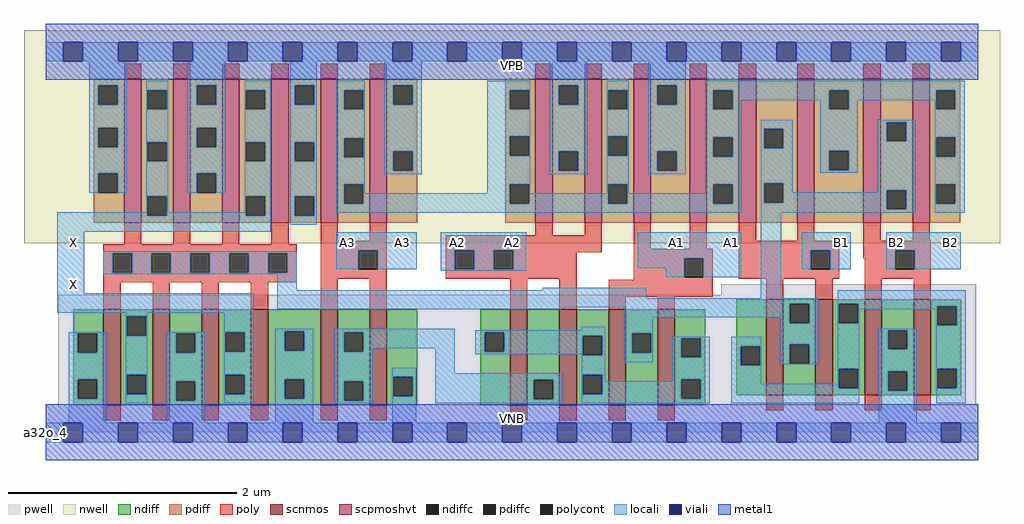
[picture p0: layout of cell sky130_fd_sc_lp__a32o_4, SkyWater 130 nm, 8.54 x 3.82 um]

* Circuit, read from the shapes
.subckt sky130_fd_sc_lp__a32o_4 A1 A2 A3 B1 B2 VGND VNB VPB VPWR X
XM1 X n1 VGND VNB sky130_fd_pr__nfet_01v8 w=0.84 l=0.15 m=4
XM2 n2 A3 VGND VNB sky130_fd_pr__nfet_01v8 w=0.84 l=0.15 m=2
XM3 n2 A2 n3 VNB sky130_fd_pr__nfet_01v8 w=0.84 l=0.15 m=2
XM4 n1 A1 n3 VNB sky130_fd_pr__nfet_01v8 w=0.84 l=0.15 m=2
XM5 n1 B1 n4 VNB sky130_fd_pr__nfet_01v8 w=0.84 l=0.15 m=2
XM6 VGND B2 n4 VNB sky130_fd_pr__nfet_01v8 w=0.84 l=0.15 m=2
XM7 X n1 VPWR VPB sky130_fd_pr__pfet_01v8_hvt w=1.26 l=0.15 m=4
XM8 n5 A3 VPWR VPB sky130_fd_pr__pfet_01v8_hvt w=1.26 l=0.15 m=2
XM9 VPWR A2 n5 VPB sky130_fd_pr__pfet_01v8_hvt w=1.26 l=0.15 m=2
XM10 VPWR A1 n5 VPB sky130_fd_pr__pfet_01v8_hvt w=1.26 l=0.15 m=2
XM11 n1 B1 n5 VPB sky130_fd_pr__pfet_01v8_hvt w=1.26 l=0.15 m=2
XM12 n1 B2 n5 VPB sky130_fd_pr__pfet_01v8_hvt w=1.26 l=0.15 m=2
.ends

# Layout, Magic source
magic
tech sky130A
magscale 1 2
<< nwell >>
rect -38 331 1670 704
<< pwell >>
rect 1182 241 1628 259
rect 22 49 1628 241
rect 0 0 1632 49
<< scnmos >>
rect 101 47 131 215
rect 187 47 217 215
rect 273 47 303 215
rect 359 47 389 215
rect 481 47 511 215
rect 567 47 597 215
rect 813 47 843 215
rect 899 47 929 215
rect 985 47 1015 215
rect 1071 47 1101 215
rect 1261 65 1291 233
rect 1347 65 1377 233
rect 1433 65 1463 233
rect 1519 65 1549 233
<< scpmoshvt >>
rect 137 367 167 619
rect 223 367 253 619
rect 309 367 339 619
rect 395 367 425 619
rect 481 367 511 619
rect 567 367 597 619
rect 857 367 887 619
rect 943 367 973 619
rect 1029 367 1059 619
rect 1127 367 1157 619
rect 1213 367 1243 619
rect 1315 367 1345 619
rect 1431 367 1461 619
rect 1517 367 1547 619
<< ndiff >>
rect 48 173 101 215
rect 48 139 56 173
rect 90 139 101 173
rect 48 93 101 139
rect 48 59 56 93
rect 90 59 101 93
rect 48 47 101 59
rect 131 203 187 215
rect 131 169 142 203
rect 176 169 187 203
rect 131 101 187 169
rect 131 67 142 101
rect 176 67 187 101
rect 131 47 187 67
rect 217 173 273 215
rect 217 139 228 173
rect 262 139 273 173
rect 217 89 273 139
rect 217 55 228 89
rect 262 55 273 89
rect 217 47 273 55
rect 303 175 359 215
rect 303 141 314 175
rect 348 141 359 175
rect 303 101 359 141
rect 303 67 314 101
rect 348 67 359 101
rect 303 47 359 67
rect 389 177 481 215
rect 389 143 418 177
rect 452 143 481 177
rect 389 93 481 143
rect 389 59 418 93
rect 452 59 481 93
rect 389 47 481 59
rect 511 175 567 215
rect 511 141 522 175
rect 556 141 567 175
rect 511 89 567 141
rect 511 55 522 89
rect 556 55 567 89
rect 511 47 567 55
rect 597 97 650 215
rect 597 63 608 97
rect 642 63 650 97
rect 597 47 650 63
rect 760 175 813 215
rect 760 141 768 175
rect 802 141 813 175
rect 760 47 813 141
rect 843 92 899 215
rect 843 58 854 92
rect 888 58 899 92
rect 843 47 899 58
rect 929 169 985 215
rect 929 135 940 169
rect 974 135 985 169
rect 929 101 985 135
rect 929 67 940 101
rect 974 67 985 101
rect 929 47 985 67
rect 1015 173 1071 215
rect 1015 139 1026 173
rect 1060 139 1071 173
rect 1015 47 1071 139
rect 1101 165 1154 215
rect 1101 131 1112 165
rect 1146 131 1154 165
rect 1101 93 1154 131
rect 1101 59 1112 93
rect 1146 59 1154 93
rect 1208 151 1261 233
rect 1208 117 1216 151
rect 1250 117 1261 151
rect 1208 65 1261 117
rect 1291 225 1347 233
rect 1291 191 1302 225
rect 1336 191 1347 225
rect 1291 154 1347 191
rect 1291 120 1302 154
rect 1336 120 1347 154
rect 1291 65 1347 120
rect 1377 225 1433 233
rect 1377 191 1388 225
rect 1422 191 1433 225
rect 1377 111 1433 191
rect 1377 77 1388 111
rect 1422 77 1433 111
rect 1377 65 1433 77
rect 1463 179 1519 233
rect 1463 145 1474 179
rect 1508 145 1519 179
rect 1463 107 1519 145
rect 1463 73 1474 107
rect 1508 73 1519 107
rect 1463 65 1519 73
rect 1549 221 1602 233
rect 1549 187 1560 221
rect 1594 187 1602 221
rect 1549 111 1602 187
rect 1549 77 1560 111
rect 1594 77 1602 111
rect 1549 65 1602 77
rect 1101 47 1154 59
<< pdiff >>
rect 84 607 137 619
rect 84 573 92 607
rect 126 573 137 607
rect 84 533 137 573
rect 84 499 92 533
rect 126 499 137 533
rect 84 453 137 499
rect 84 419 92 453
rect 126 419 137 453
rect 84 367 137 419
rect 167 599 223 619
rect 167 565 178 599
rect 212 565 223 599
rect 167 508 223 565
rect 167 474 178 508
rect 212 474 223 508
rect 167 413 223 474
rect 167 379 178 413
rect 212 379 223 413
rect 167 367 223 379
rect 253 607 309 619
rect 253 573 264 607
rect 298 573 309 607
rect 253 533 309 573
rect 253 499 264 533
rect 298 499 309 533
rect 253 453 309 499
rect 253 419 264 453
rect 298 419 309 453
rect 253 367 309 419
rect 339 599 395 619
rect 339 565 350 599
rect 384 565 395 599
rect 339 508 395 565
rect 339 474 350 508
rect 384 474 395 508
rect 339 413 395 474
rect 339 379 350 413
rect 384 379 395 413
rect 339 367 395 379
rect 425 607 481 619
rect 425 573 436 607
rect 470 573 481 607
rect 425 508 481 573
rect 425 474 436 508
rect 470 474 481 508
rect 425 413 481 474
rect 425 379 436 413
rect 470 379 481 413
rect 425 367 481 379
rect 511 599 567 619
rect 511 565 522 599
rect 556 565 567 599
rect 511 515 567 565
rect 511 481 522 515
rect 556 481 567 515
rect 511 434 567 481
rect 511 400 522 434
rect 556 400 567 434
rect 511 367 567 400
rect 597 607 650 619
rect 597 573 608 607
rect 642 573 650 607
rect 597 492 650 573
rect 597 458 608 492
rect 642 458 650 492
rect 597 367 650 458
rect 804 599 857 619
rect 804 565 812 599
rect 846 565 857 599
rect 804 518 857 565
rect 804 484 812 518
rect 846 484 857 518
rect 804 434 857 484
rect 804 400 812 434
rect 846 400 857 434
rect 804 367 857 400
rect 887 607 943 619
rect 887 573 898 607
rect 932 573 943 607
rect 887 492 943 573
rect 887 458 898 492
rect 932 458 943 492
rect 887 367 943 458
rect 973 599 1029 619
rect 973 565 984 599
rect 1018 565 1029 599
rect 973 518 1029 565
rect 973 484 984 518
rect 1018 484 1029 518
rect 973 434 1029 484
rect 973 400 984 434
rect 1018 400 1029 434
rect 973 367 1029 400
rect 1059 607 1127 619
rect 1059 573 1070 607
rect 1104 573 1127 607
rect 1059 492 1127 573
rect 1059 458 1070 492
rect 1104 458 1127 492
rect 1059 367 1127 458
rect 1157 599 1213 619
rect 1157 565 1168 599
rect 1202 565 1213 599
rect 1157 516 1213 565
rect 1157 482 1168 516
rect 1202 482 1213 516
rect 1157 434 1213 482
rect 1157 400 1168 434
rect 1202 400 1213 434
rect 1157 367 1213 400
rect 1243 531 1315 619
rect 1243 497 1257 531
rect 1291 497 1315 531
rect 1243 436 1315 497
rect 1243 402 1257 436
rect 1291 402 1315 436
rect 1243 367 1315 402
rect 1345 599 1431 619
rect 1345 565 1371 599
rect 1405 565 1431 599
rect 1345 493 1431 565
rect 1345 459 1371 493
rect 1405 459 1431 493
rect 1345 367 1431 459
rect 1461 543 1517 619
rect 1461 509 1472 543
rect 1506 509 1517 543
rect 1461 424 1517 509
rect 1461 390 1472 424
rect 1506 390 1517 424
rect 1461 367 1517 390
rect 1547 599 1600 619
rect 1547 565 1558 599
rect 1592 565 1600 599
rect 1547 516 1600 565
rect 1547 482 1558 516
rect 1592 482 1600 516
rect 1547 434 1600 482
rect 1547 400 1558 434
rect 1592 400 1600 434
rect 1547 367 1600 400
<< ndiffc >>
rect 56 139 90 173
rect 56 59 90 93
rect 142 169 176 203
rect 142 67 176 101
rect 228 139 262 173
rect 228 55 262 89
rect 314 141 348 175
rect 314 67 348 101
rect 418 143 452 177
rect 418 59 452 93
rect 522 141 556 175
rect 522 55 556 89
rect 608 63 642 97
rect 768 141 802 175
rect 854 58 888 92
rect 940 135 974 169
rect 940 67 974 101
rect 1026 139 1060 173
rect 1112 131 1146 165
rect 1112 59 1146 93
rect 1216 117 1250 151
rect 1302 191 1336 225
rect 1302 120 1336 154
rect 1388 191 1422 225
rect 1388 77 1422 111
rect 1474 145 1508 179
rect 1474 73 1508 107
rect 1560 187 1594 221
rect 1560 77 1594 111
<< pdiffc >>
rect 92 573 126 607
rect 92 499 126 533
rect 92 419 126 453
rect 178 565 212 599
rect 178 474 212 508
rect 178 379 212 413
rect 264 573 298 607
rect 264 499 298 533
rect 264 419 298 453
rect 350 565 384 599
rect 350 474 384 508
rect 350 379 384 413
rect 436 573 470 607
rect 436 474 470 508
rect 436 379 470 413
rect 522 565 556 599
rect 522 481 556 515
rect 522 400 556 434
rect 608 573 642 607
rect 608 458 642 492
rect 812 565 846 599
rect 812 484 846 518
rect 812 400 846 434
rect 898 573 932 607
rect 898 458 932 492
rect 984 565 1018 599
rect 984 484 1018 518
rect 984 400 1018 434
rect 1070 573 1104 607
rect 1070 458 1104 492
rect 1168 565 1202 599
rect 1168 482 1202 516
rect 1168 400 1202 434
rect 1257 497 1291 531
rect 1257 402 1291 436
rect 1371 565 1405 599
rect 1371 459 1405 493
rect 1472 509 1506 543
rect 1472 390 1506 424
rect 1558 565 1592 599
rect 1558 482 1592 516
rect 1558 400 1592 434
<< poly >>
rect 137 619 167 645
rect 223 619 253 645
rect 309 619 339 645
rect 395 619 425 645
rect 481 619 511 645
rect 567 619 597 645
rect 857 619 887 645
rect 943 619 973 645
rect 1029 619 1059 645
rect 1127 619 1157 645
rect 1213 619 1243 645
rect 1315 619 1345 645
rect 1431 619 1461 645
rect 1517 619 1547 645
rect 137 329 167 367
rect 223 329 253 367
rect 309 329 339 367
rect 395 329 425 367
rect 481 335 511 367
rect 567 335 597 367
rect 857 345 887 367
rect 943 345 973 367
rect 101 313 439 329
rect 101 279 117 313
rect 151 279 185 313
rect 219 279 253 313
rect 287 279 321 313
rect 355 279 389 313
rect 423 279 439 313
rect 101 263 439 279
rect 481 319 597 335
rect 481 285 547 319
rect 581 285 597 319
rect 481 269 597 285
rect 700 319 973 345
rect 700 285 716 319
rect 750 285 784 319
rect 818 315 973 319
rect 1029 321 1059 367
rect 1127 321 1157 367
rect 1213 335 1243 367
rect 1315 335 1345 367
rect 1431 335 1461 367
rect 1517 335 1547 367
rect 818 285 929 315
rect 700 269 929 285
rect 101 215 131 263
rect 187 215 217 263
rect 273 215 303 263
rect 359 215 389 263
rect 481 215 511 269
rect 567 215 597 269
rect 813 215 843 269
rect 899 215 929 269
rect 1029 305 1167 321
rect 1029 271 1117 305
rect 1151 271 1167 305
rect 1029 267 1167 271
rect 1213 319 1389 335
rect 1213 285 1339 319
rect 1373 285 1389 319
rect 1431 319 1549 335
rect 1431 305 1487 319
rect 1213 269 1389 285
rect 1433 285 1487 305
rect 1521 285 1549 319
rect 1433 269 1549 285
rect 985 237 1167 267
rect 985 215 1015 237
rect 1071 215 1101 237
rect 1261 233 1291 269
rect 1347 233 1377 269
rect 1433 233 1463 269
rect 1519 233 1549 269
rect 101 21 131 47
rect 187 21 217 47
rect 273 21 303 47
rect 359 21 389 47
rect 481 21 511 47
rect 567 21 597 47
rect 813 21 843 47
rect 899 21 929 47
rect 985 21 1015 47
rect 1071 21 1101 47
rect 1261 39 1291 65
rect 1347 39 1377 65
rect 1433 39 1463 65
rect 1519 39 1549 65
<< polycont >>
rect 117 279 151 313
rect 185 279 219 313
rect 253 279 287 313
rect 321 279 355 313
rect 389 279 423 313
rect 547 285 581 319
rect 716 285 750 319
rect 784 285 818 319
rect 1117 271 1151 305
rect 1339 285 1373 319
rect 1487 285 1521 319
<< locali >>
rect 0 649 31 683
rect 65 649 127 683
rect 161 649 223 683
rect 257 649 319 683
rect 353 649 415 683
rect 449 649 511 683
rect 545 649 607 683
rect 641 649 703 683
rect 737 649 799 683
rect 833 649 895 683
rect 929 649 991 683
rect 1025 649 1087 683
rect 1121 649 1183 683
rect 1217 649 1279 683
rect 1313 649 1375 683
rect 1409 649 1471 683
rect 1505 649 1567 683
rect 1601 649 1632 683
rect 76 607 142 649
rect 76 573 92 607
rect 126 573 142 607
rect 76 533 142 573
rect 76 499 92 533
rect 126 499 142 533
rect 76 453 142 499
rect 76 419 92 453
rect 126 419 142 453
rect 176 599 214 615
rect 176 565 178 599
rect 212 565 214 599
rect 176 508 214 565
rect 176 474 178 508
rect 212 474 214 508
rect 176 413 214 474
rect 248 607 314 649
rect 248 573 264 607
rect 298 573 314 607
rect 248 533 314 573
rect 248 499 264 533
rect 298 499 314 533
rect 248 453 314 499
rect 248 419 264 453
rect 298 419 314 453
rect 348 599 394 615
rect 348 565 350 599
rect 384 565 394 599
rect 348 508 394 565
rect 348 474 350 508
rect 384 474 394 508
rect 176 385 178 413
rect 20 379 178 385
rect 212 385 214 413
rect 348 413 394 474
rect 348 385 350 413
rect 212 379 350 385
rect 384 379 394 413
rect 20 351 394 379
rect 428 607 474 649
rect 428 573 436 607
rect 470 573 474 607
rect 428 508 474 573
rect 428 474 436 508
rect 470 474 474 508
rect 428 413 474 474
rect 428 379 436 413
rect 470 379 474 413
rect 508 599 558 615
rect 508 565 522 599
rect 556 565 558 599
rect 508 515 558 565
rect 508 481 522 515
rect 556 481 558 515
rect 508 434 558 481
rect 592 607 658 649
rect 592 573 608 607
rect 642 573 658 607
rect 592 492 658 573
rect 592 458 608 492
rect 642 458 658 492
rect 592 452 658 458
rect 773 599 848 615
rect 773 565 812 599
rect 846 565 848 599
rect 773 518 848 565
rect 773 484 812 518
rect 846 484 848 518
rect 508 400 522 434
rect 556 418 558 434
rect 773 434 848 484
rect 882 607 948 649
rect 882 573 898 607
rect 932 573 948 607
rect 882 492 948 573
rect 882 458 898 492
rect 932 458 948 492
rect 882 452 948 458
rect 982 599 1020 615
rect 982 565 984 599
rect 1018 565 1020 599
rect 982 518 1020 565
rect 982 484 984 518
rect 1018 484 1020 518
rect 773 418 812 434
rect 556 400 812 418
rect 846 418 848 434
rect 982 434 1020 484
rect 1054 607 1120 649
rect 1054 573 1070 607
rect 1104 573 1120 607
rect 1054 492 1120 573
rect 1054 458 1070 492
rect 1104 458 1120 492
rect 1054 452 1120 458
rect 1154 599 1608 615
rect 1154 565 1168 599
rect 1202 581 1371 599
rect 1202 565 1217 581
rect 1154 516 1217 565
rect 1355 565 1371 581
rect 1405 581 1558 599
rect 1405 565 1421 581
rect 1154 482 1168 516
rect 1202 482 1217 516
rect 982 418 984 434
rect 846 400 984 418
rect 1018 418 1020 434
rect 1154 434 1217 482
rect 1154 418 1168 434
rect 1018 400 1168 418
rect 1202 400 1217 434
rect 508 384 1217 400
rect 1251 531 1307 547
rect 1251 497 1257 531
rect 1291 497 1307 531
rect 1251 436 1307 497
rect 1355 493 1421 565
rect 1556 565 1558 581
rect 1592 565 1608 599
rect 1355 459 1371 493
rect 1405 459 1421 493
rect 1355 454 1421 459
rect 1456 543 1522 547
rect 1456 509 1472 543
rect 1506 509 1522 543
rect 1251 402 1257 436
rect 1291 420 1307 436
rect 1456 424 1522 509
rect 1456 420 1472 424
rect 1291 402 1472 420
rect 1251 390 1472 402
rect 1506 390 1522 424
rect 1251 384 1522 390
rect 1556 516 1608 565
rect 1556 482 1558 516
rect 1592 482 1608 516
rect 1556 434 1608 482
rect 1556 400 1558 434
rect 1592 400 1608 434
rect 1556 384 1608 400
rect 428 363 474 379
rect 20 243 67 351
rect 508 319 649 350
rect 101 313 439 317
rect 101 279 117 313
rect 151 279 185 313
rect 219 279 253 313
rect 287 279 321 313
rect 355 279 389 313
rect 423 279 439 313
rect 508 285 547 319
rect 581 285 649 319
rect 691 319 841 350
rect 691 285 716 319
rect 750 285 784 319
rect 818 285 841 319
rect 1036 305 1217 350
rect 1036 287 1117 305
rect 691 283 841 285
rect 101 277 439 279
rect 405 249 439 277
rect 1085 271 1117 287
rect 1151 271 1217 305
rect 870 249 1051 253
rect 20 209 364 243
rect 405 235 1051 249
rect 1251 235 1287 384
rect 1323 319 1409 350
rect 1323 285 1339 319
rect 1373 285 1409 319
rect 1471 319 1601 350
rect 1471 285 1487 319
rect 1521 285 1601 319
rect 405 225 1352 235
rect 405 219 1302 225
rect 405 215 904 219
rect 140 203 178 209
rect 40 173 106 175
rect 40 139 56 173
rect 90 139 106 173
rect 40 93 106 139
rect 40 59 56 93
rect 90 59 106 93
rect 40 17 106 59
rect 140 169 142 203
rect 176 169 178 203
rect 312 175 364 209
rect 1013 201 1302 219
rect 140 101 178 169
rect 140 67 142 101
rect 176 67 178 101
rect 140 51 178 67
rect 212 173 278 175
rect 212 139 228 173
rect 262 139 278 173
rect 212 89 278 139
rect 212 55 228 89
rect 262 55 278 89
rect 212 17 278 55
rect 312 141 314 175
rect 348 141 364 175
rect 312 101 364 141
rect 312 67 314 101
rect 348 67 364 101
rect 312 51 364 67
rect 402 177 468 181
rect 402 143 418 177
rect 452 143 468 177
rect 402 93 468 143
rect 402 59 418 93
rect 452 59 468 93
rect 402 17 468 59
rect 506 175 716 181
rect 938 179 979 185
rect 506 141 522 175
rect 556 147 716 175
rect 556 141 572 147
rect 506 89 572 141
rect 506 55 522 89
rect 556 55 572 89
rect 506 51 572 55
rect 606 97 648 113
rect 606 63 608 97
rect 642 63 648 97
rect 606 17 648 63
rect 682 103 716 147
rect 752 175 979 179
rect 752 141 768 175
rect 802 169 979 175
rect 802 141 940 169
rect 752 137 940 141
rect 938 135 940 137
rect 974 135 979 169
rect 682 92 904 103
rect 682 58 854 92
rect 888 58 904 92
rect 682 51 904 58
rect 938 101 979 135
rect 1013 173 1062 201
rect 1013 139 1026 173
rect 1060 139 1062 173
rect 1286 191 1302 201
rect 1336 191 1352 225
rect 1013 123 1062 139
rect 1096 165 1162 167
rect 1096 131 1112 165
rect 1146 131 1162 165
rect 938 67 940 101
rect 974 89 979 101
rect 1096 93 1162 131
rect 1096 89 1112 93
rect 974 67 1112 89
rect 938 59 1112 67
rect 1146 59 1162 93
rect 938 51 1162 59
rect 1200 151 1252 167
rect 1200 117 1216 151
rect 1250 117 1252 151
rect 1286 154 1352 191
rect 1286 120 1302 154
rect 1336 120 1352 154
rect 1286 119 1352 120
rect 1386 225 1610 249
rect 1386 191 1388 225
rect 1422 221 1610 225
rect 1422 215 1560 221
rect 1422 191 1424 215
rect 1200 85 1252 117
rect 1386 111 1424 191
rect 1558 187 1560 215
rect 1594 187 1610 221
rect 1386 85 1388 111
rect 1200 77 1388 85
rect 1422 77 1424 111
rect 1200 51 1424 77
rect 1458 179 1524 181
rect 1458 145 1474 179
rect 1508 145 1524 179
rect 1458 107 1524 145
rect 1458 73 1474 107
rect 1508 73 1524 107
rect 1458 17 1524 73
rect 1558 111 1610 187
rect 1558 77 1560 111
rect 1594 77 1610 111
rect 1558 51 1610 77
rect 0 -17 31 17
rect 65 -17 127 17
rect 161 -17 223 17
rect 257 -17 319 17
rect 353 -17 415 17
rect 449 -17 511 17
rect 545 -17 607 17
rect 641 -17 703 17
rect 737 -17 799 17
rect 833 -17 895 17
rect 929 -17 991 17
rect 1025 -17 1087 17
rect 1121 -17 1183 17
rect 1217 -17 1279 17
rect 1313 -17 1375 17
rect 1409 -17 1471 17
rect 1505 -17 1567 17
rect 1601 -17 1632 17
<< viali >>
rect 31 649 65 683
rect 127 649 161 683
rect 223 649 257 683
rect 319 649 353 683
rect 415 649 449 683
rect 511 649 545 683
rect 607 649 641 683
rect 703 649 737 683
rect 799 649 833 683
rect 895 649 929 683
rect 991 649 1025 683
rect 1087 649 1121 683
rect 1183 649 1217 683
rect 1279 649 1313 683
rect 1375 649 1409 683
rect 1471 649 1505 683
rect 1567 649 1601 683
rect 31 -17 65 17
rect 127 -17 161 17
rect 223 -17 257 17
rect 319 -17 353 17
rect 415 -17 449 17
rect 511 -17 545 17
rect 607 -17 641 17
rect 703 -17 737 17
rect 799 -17 833 17
rect 895 -17 929 17
rect 991 -17 1025 17
rect 1087 -17 1121 17
rect 1183 -17 1217 17
rect 1279 -17 1313 17
rect 1375 -17 1409 17
rect 1471 -17 1505 17
rect 1567 -17 1601 17
<< metal1 >>
rect 0 683 1632 715
rect 0 649 31 683
rect 65 649 127 683
rect 161 649 223 683
rect 257 649 319 683
rect 353 649 415 683
rect 449 649 511 683
rect 545 649 607 683
rect 641 649 703 683
rect 737 649 799 683
rect 833 649 895 683
rect 929 649 991 683
rect 1025 649 1087 683
rect 1121 649 1183 683
rect 1217 649 1279 683
rect 1313 649 1375 683
rect 1409 649 1471 683
rect 1505 649 1567 683
rect 1601 649 1632 683
rect 0 617 1632 649
rect 0 17 1632 49
rect 0 -17 31 17
rect 65 -17 127 17
rect 161 -17 223 17
rect 257 -17 319 17
rect 353 -17 415 17
rect 449 -17 511 17
rect 545 -17 607 17
rect 641 -17 703 17
rect 737 -17 799 17
rect 833 -17 895 17
rect 929 -17 991 17
rect 1025 -17 1087 17
rect 1121 -17 1183 17
rect 1217 -17 1279 17
rect 1313 -17 1375 17
rect 1409 -17 1471 17
rect 1505 -17 1567 17
rect 1601 -17 1632 17
rect 0 -49 1632 -17
<< labels >>
flabel pwell s 0 0 1632 49 0 FreeSans 200 0 0 0 VNB
port 7 nsew ground bidirectional
flabel nwell s 0 617 1632 666 0 FreeSans 200 0 0 0 VPB
port 8 nsew power bidirectional
rlabel comment s 0 0 0 0 4 a32o_4
flabel metal1 s 0 617 1632 666 0 FreeSans 340 0 0 0 VPWR
port 9 nsew power bidirectional
flabel metal1 s 0 0 1632 49 0 FreeSans 340 0 0 0 VGND
port 6 nsew ground bidirectional
flabel locali s 511 316 545 350 0 FreeSans 340 0 0 0 A3
port 3 nsew signal input
flabel locali s 607 316 641 350 0 FreeSans 340 0 0 0 A3
port 3 nsew signal input
flabel locali s 1375 316 1409 350 0 FreeSans 340 0 0 0 B1
port 4 nsew signal input
flabel locali s 1471 316 1505 350 0 FreeSans 340 0 0 0 B2
port 5 nsew signal input
flabel locali s 1567 316 1601 350 0 FreeSans 340 0 0 0 B2
port 5 nsew signal input
flabel locali s 1087 316 1121 350 0 FreeSans 340 0 0 0 A1
port 1 nsew signal input
flabel locali s 1183 316 1217 350 0 FreeSans 340 0 0 0 A1
port 1 nsew signal input
flabel locali s 703 316 737 350 0 FreeSans 340 0 0 0 A2
port 2 nsew signal input
flabel locali s 799 316 833 350 0 FreeSans 340 0 0 0 A2
port 2 nsew signal input
flabel locali s 31 242 65 276 0 FreeSans 340 0 0 0 X
port 10 nsew signal output
flabel locali s 31 316 65 350 0 FreeSans 340 0 0 0 X
port 10 nsew signal output
<< properties >>
string LEFsite unit
string LEFclass CORE
string FIXED_BBOX 0 0 1632 666
string GDS_FILE $PDKPATH/libs.ref/sky130_fd_sc_lp/gds/sky130_fd_sc_lp.gds
string LEFsymmetry X Y R90
string GDS_END 2050362
string GDS_START 2036916
<< end >>
